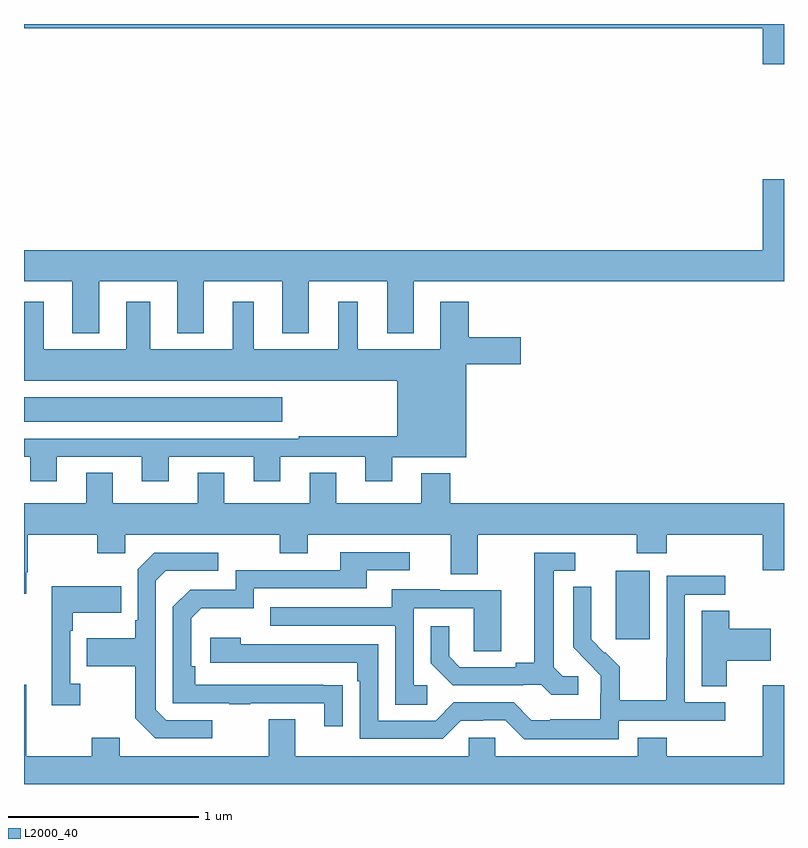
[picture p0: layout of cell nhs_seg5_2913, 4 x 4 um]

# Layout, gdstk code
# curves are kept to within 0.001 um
import gdstk
lib = gdstk.Library(unit=1e-6, precision=1e-09)
def R(c, l, rs):  # rectangles x0, y0, x1, y1
    for r in rs: c.add(gdstk.rectangle(r[:2], r[2:], *l))
def P(c, l, *ps):  # polygons
    for p in ps: c.add(gdstk.Polygon(p, *l))
L2000_40 = (2000, 40)

nhs_seg5_2913 = lib.new_cell('nhs_seg5_2913')
R(nhs_seg5_2913, L2000_40, [(284.114,837.561,284.293,837.922), (281,838.706,282.358,838.834)])
P(nhs_seg5_2913, L2000_40, [(285,840.799),(281,840.799),(281,840.776),(284.888,840.776),(284.888,840.588),(285,840.588)],
  [(281,839.444),(281.255,839.444),(281.255,839.171),(281.395,839.171),(281.395,839.444),(281.807,839.444),(281.807,839.171),(281.947,839.171),(281.947,839.444),(282.359,839.444),(282.359,839.171),(282.499,839.171),(282.499,839.444),(282.911,839.444),(282.911,839.171),(283.051,839.171),(283.051,839.444),(285,839.444),(285,839.983),(284.888,839.983),(284.888,839.608),(281,839.608)],
  [(281.173,838.521),(281.621,838.521),(281.621,838.392),(281.761,838.392),(281.761,838.521),(282.209,838.521),(282.209,838.392),(282.349,838.392),(282.349,838.521),(282.797,838.521),(282.797,838.392),(282.937,838.392),(282.937,838.52),(283.327,838.52),(283.327,839.009),(283.615,839.009),(283.615,839.151),(283.34,839.151),(283.34,839.338),(283.19,839.338),(283.19,839.086),(282.757,839.086),(282.757,839.338),(282.653,839.338),(282.653,839.086),(282.208,839.086),(282.208,839.338),(282.098,839.338),(282.098,839.086),(281.665,839.086),(281.665,839.338),(281.537,839.338),(281.537,839.086),(281.104,839.086),(281.104,839.338),(281,839.338),(281,838.922),(282.965,838.922),(282.965,838.63),(282.445,838.63),(282.445,838.617),(281,838.617),(281,838.521),(281.033,838.521),(281.033,838.392),(281.173,838.392)],
  [(281.011,837.913),(281.019,837.913),(281.019,838.112),(281.386,838.112),(281.386,838.013),(281.532,838.013),(281.532,838.112),(282.346,838.112),(282.346,838.013),(282.493,838.013),(282.493,838.112),(283.247,838.112),(283.247,837.904),(283.387,837.904),(283.387,838.112),(284.224,838.112),(284.224,838.013),(284.384,838.013),(284.384,838.112),(284.888,838.112),(284.888,837.924),(285,837.924),(285,838.276),(283.244,838.276),(283.244,838.435),(283.091,838.435),(283.091,838.276),(282.643,838.276),(282.643,838.436),(282.503,838.436),(282.503,838.276),(282.055,838.276),(282.055,838.436),(281.915,838.436),(281.915,838.276),(281.467,838.276),(281.467,838.436),(281.327,838.436),(281.327,838.276),(281,838.276),(281,837.801),(281.011,837.801)],
  [(282.677,837.32),(281.9,837.321),(281.9,837.418),(281.88,837.418),(281.88,837.672),(281.933,837.725),(282.21,837.725),(282.21,837.828),(282.805,837.828),(282.805,837.924),(283.03,837.924),(283.03,838.02),(282.665,838.02),(282.665,837.924),(282.114,837.924),(282.114,837.822),(281.874,837.822),(281.784,837.732),(281.784,837.225),(282.079,837.225),(282.079,837.22),(282.191,837.22),(282.191,837.225),(282.581,837.225),(282.581,837.102),(282.677,837.102)],
  [(283.918,837.366),(283.836,837.366),(283.789,837.413),(283.789,837.921),(283.9,837.921),(283.9,838.017),(283.685,838.017),(283.685,837.437),(283.589,837.437),(283.589,837.414),(283.294,837.414),(283.237,837.471),(283.237,837.628),(283.14,837.628),(283.14,837.434),(283.256,837.318),(283.628,837.318),(283.628,837.321),(283.722,837.321),(283.774,837.269),(283.918,837.269)],
  [(281.992,837.135),(281.748,837.135),(281.694,837.189),(281.694,837.87),(281.745,837.921),(282.022,837.921),(282.022,838.017),(281.685,838.017),(281.598,837.93),(281.598,837.661),(281.586,837.661),(281.586,837.565),(281.329,837.565),(281.329,837.418),(281.586,837.418),(281.586,837.145),(281.691,837.039),(281.992,837.039)],
  [(284.13,837.132),(284.692,837.132),(284.692,837.228),(284.478,837.228),(284.478,837.795),(284.692,837.795),(284.692,837.894),(284.382,837.894),(284.382,837.464),(284.38,837.464),(284.38,837.241),(284.135,837.241),(284.135,837.415),(284.058,837.492),(284.055,837.489),(283.985,837.56),(283.986,837.836),(283.89,837.836),(283.89,837.518),(284.036,837.37),(284.036,837.273),(284.034,837.273),(284.034,837.139),(283.771,837.139),(283.771,837.135),(283.671,837.135),(283.578,837.228),(283.263,837.228),(283.167,837.132),(282.864,837.132),(282.864,837.534),(282.14,837.534),(282.14,837.568),(281.979,837.568),(281.979,837.438),(282.755,837.438),(282.755,837.341),(282.768,837.341),(282.768,837.036),(283.203,837.036),(283.299,837.132),(283.418,837.132),(283.418,837.135),(283.533,837.135),(283.633,837.035),(284.13,837.035)],
  [(281.296,837.326),(281.244,837.326),(281.244,837.605),(281.257,837.605),(281.257,837.701),(281.513,837.701),(281.513,837.841),(281.147,837.841),(281.147,837.213),(281.296,837.213)],
  [(283.123,837.318),(283.05,837.318),(283.05,837.723),(283.368,837.723),(283.368,837.499),(283.513,837.499),(283.513,837.819),(283.189,837.819),(283.189,837.823),(282.935,837.823),(282.935,837.729),(282.295,837.729),(282.295,837.633),(282.954,837.633),(282.954,837.217),(283.123,837.217)],
  [(284.698,837.449),(284.929,837.449),(284.929,837.615),(284.711,837.615),(284.711,837.71),(284.567,837.71),(284.567,837.313),(284.698,837.313)],
  [(285,837.319),(284.888,837.319),(284.888,836.944),(284.384,836.944),(284.384,837.043),(284.231,837.043),(284.231,836.944),(283.479,836.944),(283.479,837.042),(283.341,837.042),(283.341,836.944),(282.427,836.944),(282.427,837.139),(282.287,837.139),(282.287,836.944),(281.503,836.944),(281.503,837.043),(281.356,837.043),(281.356,836.944),(281.011,836.944),(281.011,837.322),(281,837.322),(281,836.799),(285,836.799)])

lib.write_gds('nhs_seg5_2913.gds')
